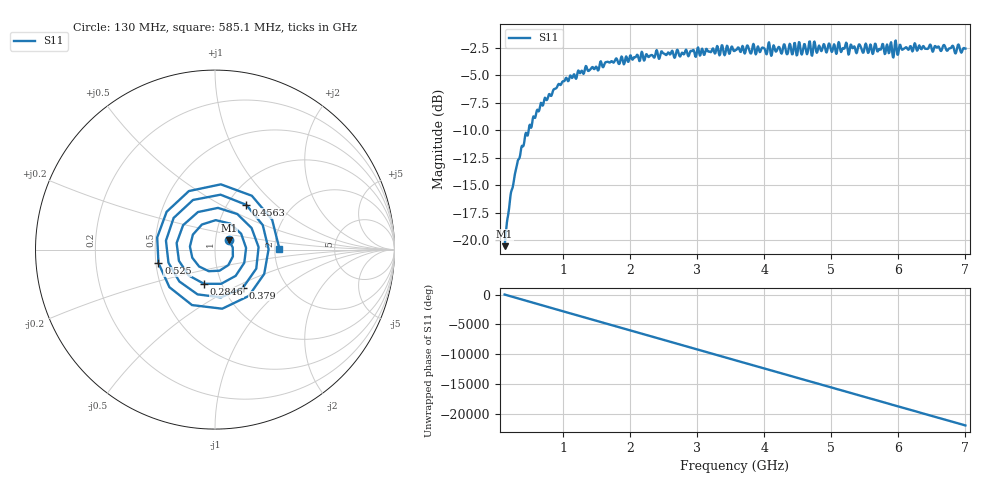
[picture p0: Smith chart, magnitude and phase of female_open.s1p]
# Hz S RI R 50.000000
! Metas.Vna.Tools, 2.8.8664.20301
! Metas.Vna.Data, 2.8.8664.20285
! Created: UTC 2024.02.09 20:23:34
! FREQ  re:S2,2  im:S2,2
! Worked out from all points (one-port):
!   801 points, 130 MHz to 7 GHz, reference 50 ohm
!   lowest |S11| = -20.6 dB at 130 MHz (marker M1), VSWR 1.21, Z = 58 + j6.19 ohm
!   |S11| at or under -10 dB: start of sweep to 488.6 MHz
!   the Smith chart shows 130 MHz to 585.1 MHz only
!   S11 on the Smith chart (normalised r, x): 130 MHz: 1.16, +0.12; 284.6 MHz: 0.83, -0.33; 379 MHz: 1.23, -0.56; 456.3 MHz: 1.22, +0.67; 525 MHz: 0.52, -0.09; 585.1 MHz: 2.12, +0.01
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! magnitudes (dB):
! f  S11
! 130 MHz  -20.6
! 207.3 MHz  -16.5
! 284.6 MHz  -14.0
! 379 MHz  -11.6
! 456.3 MHz  -10.3
! 525 MHz  -9.8
! 585.1 MHz  -8.9
! 705.4 MHz  -7.7
! 988.8 MHz  -5.6
! 1.358 GHz  -4.4
! 1.847 GHz  -3.9
! 2.492 GHz  -3.0
! 2.706 GHz  -2.7
! 3.565 GHz  -2.8
! 4.424 GHz  -3.1
! 5.171 GHz  -2.5
! 5.205 GHz  -2.4
! 5.282 GHz  -2.4
! 5.317 GHz  -2.5
! 5.36 GHz  -2.7
! 5.428 GHz  -2.3
! 5.712 GHz  -2.6
! 5.746 GHz  -2.6
! 5.832 GHz  -2.2
! 5.866 GHz  -2.9
! 5.901 GHz  -2.3
! 6.141 GHz  -2.7
! 7 GHz  -2.6
